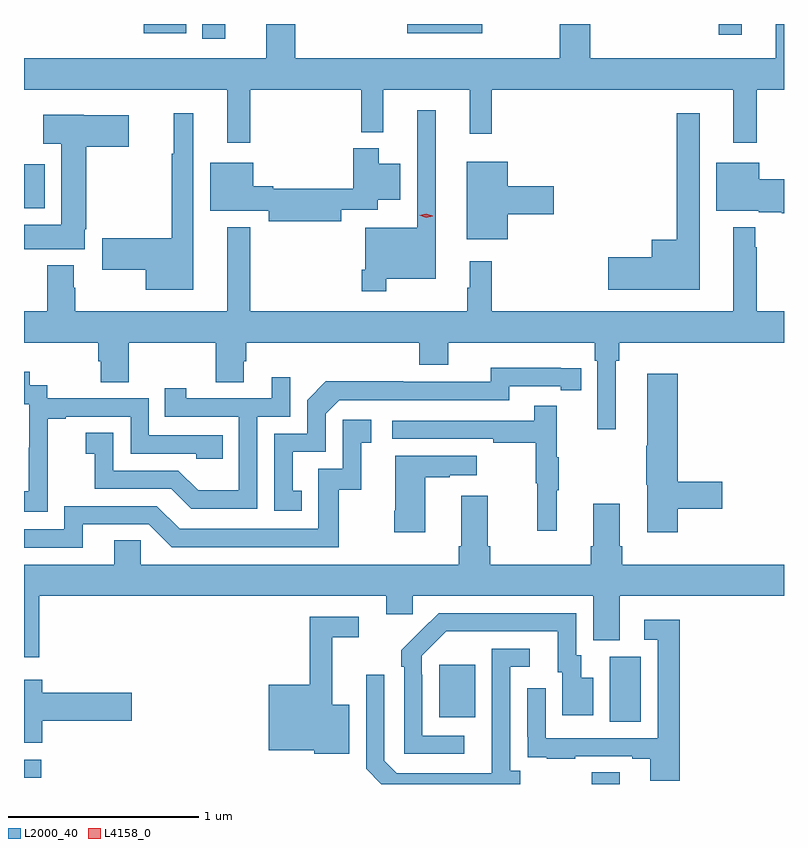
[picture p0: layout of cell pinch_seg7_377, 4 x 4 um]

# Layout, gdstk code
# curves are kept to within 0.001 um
import gdstk
lib = gdstk.Library(unit=1e-6, precision=1e-09)
def R(c, l, rs):  # rectangles x0, y0, x1, y1
    for r in rs: c.add(gdstk.rectangle(r[:2], r[2:], *l))
def P(c, l, *ps):  # polygons
    for p in ps: c.add(gdstk.Polygon(p, *l))
L2000_40 = (2000, 40)
L4158_0 = (4158, 0)

pinch_seg7_377 = lib.new_cell('pinch_seg7_377')
R(pinch_seg7_377, L2000_40, [(487.39,1020.937,487.537,1020.998), (484.401,1020.969,484.492,1021.065), (487.484,1021.264,487.648,1021.608), (486.587,1021.289,486.775,1021.564), (484.401,1023.968,484.51,1024.198), (485.339,1024.86,485.461,1024.937), (488.058,1024.881,488.179,1024.937), (485.03,1024.889,485.254,1024.937), (486.417,1024.889,486.814,1024.937)])
P(pinch_seg7_377, L2000_40, [(485.593,1024.592),(486.175,1024.592),(486.175,1024.367),(486.293,1024.367),(486.293,1024.592),(486.746,1024.592),(486.746,1024.359),(486.863,1024.359),(486.863,1024.592),(488.135,1024.592),(488.135,1024.311),(488.257,1024.311),(488.257,1024.592),(488.401,1024.592),(488.401,1024.937),(488.357,1024.937),(488.357,1024.756),(487.382,1024.756),(487.382,1024.937),(487.222,1024.937),(487.222,1024.756),(485.828,1024.756),(485.828,1024.937),(485.675,1024.937),(485.675,1024.756),(484.401,1024.756),(484.401,1024.592),(485.471,1024.592),(485.471,1024.311),(485.593,1024.311)],
  [(486.307,1023.596),(486.568,1023.596),(486.568,1024.483),(486.471,1024.483),(486.471,1023.865),(486.198,1023.865),(486.198,1023.643),(486.178,1023.643),(486.178,1023.531),(486.307,1023.531)],
  [(487.957,1024.468),(487.836,1024.468),(487.836,1023.802),(487.706,1023.802),(487.706,1023.71),(487.476,1023.71),(487.476,1023.539),(487.957,1023.539)],
  [(485.293,1024.468),(485.189,1024.468),(485.189,1024.255),(485.179,1024.255),(485.179,1023.81),(484.812,1023.81),(484.812,1023.644),(485.042,1023.644),(485.042,1023.539),(485.293,1023.539)],
  [(484.72,1023.856),(484.728,1023.856),(484.728,1024.291),(484.951,1024.291),(484.951,1024.456),(484.716,1024.456),(484.716,1024.459),(484.503,1024.459),(484.503,1024.307),(484.598,1024.307),(484.598,1023.88),(484.401,1023.88),(484.401,1023.752),(484.72,1023.752)],
  [(486.07,1023.96),(486.262,1023.96),(486.262,1024.013),(486.382,1024.013),(486.382,1024.201),(486.268,1024.201),(486.268,1024.282),(486.134,1024.282),(486.134,1024.07),(485.714,1024.07),(485.714,1024.082),(485.608,1024.082),(485.608,1024.207),(485.381,1024.207),(485.381,1023.953),(485.69,1023.953),(485.69,1023.898),(486.07,1023.898)],
  [(486.946,1023.935),(487.189,1023.935),(487.189,1024.082),(486.946,1024.082),(486.946,1024.213),(486.731,1024.213),(486.731,1023.803),(486.946,1023.803)],
  [(488.401,1024.119),(488.272,1024.119),(488.272,1024.207),(488.045,1024.207),(488.045,1023.953),(488.268,1023.953),(488.268,1023.947),(488.39,1023.947),(488.39,1023.941),(488.401,1023.941)],
  [(487.516,1023.164),(487.535,1023.164),(487.535,1023.26),(488.401,1023.26),(488.401,1023.424),(488.257,1023.424),(488.257,1023.761),(488.249,1023.761),(488.249,1023.868),(488.135,1023.868),(488.135,1023.424),(486.863,1023.424),(486.863,1023.688),(486.746,1023.688),(486.746,1023.548),(486.735,1023.548),(486.735,1023.424),(485.593,1023.424),(485.593,1023.868),(485.471,1023.868),(485.471,1023.424),(484.671,1023.424),(484.671,1023.548),(484.663,1023.548),(484.663,1023.667),(484.523,1023.667),(484.523,1023.424),(484.401,1023.424),(484.401,1023.26),(484.793,1023.26),(484.793,1023.162),(484.805,1023.162),(484.805,1023.052),(484.953,1023.052),(484.953,1023.26),(485.41,1023.26),(485.41,1023.052),(485.557,1023.052),(485.557,1023.162),(485.57,1023.162),(485.57,1023.26),(486.482,1023.26),(486.482,1023.143),(486.634,1023.143),(486.634,1023.26),(487.406,1023.26),(487.406,1023.164),(487.419,1023.164),(487.419,1022.805),(487.516,1022.805)],
  [(485.864,1022.481),(485.815,1022.481),(485.815,1022.685),(485.988,1022.685),(485.988,1022.886),(486.06,1022.958),(486.954,1022.958),(486.954,1023.03),(487.226,1023.03),(487.226,1023.01),(487.334,1023.01),(487.334,1023.126),(486.858,1023.127),(486.858,1023.054),(486.398,1023.054),(486.398,1023.056),(485.99,1023.056),(485.892,1022.958),(485.892,1022.781),(485.718,1022.781),(485.718,1022.376),(485.864,1022.376)],
  [(484.527,1022.575),(484.526,1022.575),(484.526,1022.859),(484.621,1022.859),(484.621,1022.871),(484.962,1022.871),(484.962,1022.676),(485.307,1022.676),(485.307,1022.649),(485.447,1022.649),(485.447,1022.772),(485.058,1022.772),(485.058,1022.967),(484.524,1022.967),(484.524,1023.036),(484.432,1023.036),(484.432,1023.106),(484.401,1023.106),(484.401,1022.937),(484.428,1022.937),(484.428,1022.708),(484.427,1022.708),(484.427,1022.479),(484.401,1022.479),(484.401,1022.369),(484.527,1022.369)],
  [(487.841,1022.386),(488.077,1022.386),(488.077,1022.528),(487.841,1022.528),(487.841,1023.097),(487.682,1023.097),(487.682,1022.717),(487.675,1022.717),(487.675,1022.511),(487.682,1022.511),(487.682,1022.262),(487.841,1022.262)],
  [(485.628,1022.871),(485.802,1022.871),(485.802,1023.079),(485.705,1023.079),(485.705,1022.967),(485.254,1022.967),(485.254,1023.019),(485.143,1023.019),(485.143,1022.871),(485.532,1022.871),(485.532,1022.482),(485.318,1022.482),(485.214,1022.586),(484.872,1022.586),(484.872,1022.785),(484.725,1022.785),(484.725,1022.675),(484.774,1022.675),(484.774,1022.49),(485.177,1022.49),(485.282,1022.385),(485.628,1022.385)],
  [(487.205,1022.483),(487.216,1022.483),(487.216,1022.657),(487.205,1022.657),(487.205,1022.929),(487.087,1022.929),(487.087,1022.85),(486.339,1022.85),(486.339,1022.754),(486.871,1022.754),(486.871,1022.734),(487.095,1022.734),(487.095,1022.52),(487.102,1022.52),(487.102,1022.271),(487.205,1022.271)],
  [(484.711,1022.304),(485.058,1022.304),(485.178,1022.184),(486.058,1022.184),(486.058,1022.487),(486.176,1022.487),(486.176,1022.733),(486.229,1022.733),(486.229,1022.854),(486.078,1022.854),(486.078,1022.595),(485.949,1022.595),(485.949,1022.28),(485.22,1022.28),(485.1,1022.4),(484.614,1022.4),(484.614,1022.277),(484.401,1022.277),(484.401,1022.181),(484.711,1022.181)],
  [(486.514,1022.551),(486.641,1022.551),(486.641,1022.561),(486.784,1022.561),(486.784,1022.665),(486.356,1022.665),(486.356,1022.374),(486.349,1022.374),(486.349,1022.262),(486.514,1022.262)],
  [(484.481,1021.928),(486.308,1021.928),(486.308,1021.83),(486.447,1021.83),(486.447,1021.928),(487.397,1021.928),(487.397,1021.693),(487.537,1021.693),(487.537,1021.928),(488.401,1021.928),(488.401,1022.092),(487.55,1022.092),(487.55,1022.188),(487.537,1022.188),(487.537,1022.413),(487.397,1022.413),(487.397,1022.188),(487.385,1022.188),(487.385,1022.092),(486.854,1022.092),(486.854,1022.188),(486.841,1022.188),(486.841,1022.455),(486.701,1022.455),(486.701,1022.188),(486.689,1022.188),(486.689,1022.092),(485.016,1022.092),(485.016,1022.219),(484.877,1022.219),(484.877,1022.092),(484.401,1022.092),(484.401,1021.605),(484.481,1021.605)],
  [(486.718,1021.191),(486.498,1021.191),(486.498,1021.511),(486.495,1021.511),(486.495,1021.611),(486.624,1021.74),(487.211,1021.74),(487.211,1021.524),(487.235,1021.524),(487.235,1021.299),(487.396,1021.299),(487.396,1021.495),(487.333,1021.495),(487.333,1021.614),(487.308,1021.614),(487.308,1021.836),(486.584,1021.836),(486.387,1021.641),(486.387,1021.553),(486.402,1021.553),(486.402,1021.095),(486.718,1021.095)],
  [(486.112,1021.354),(486.023,1021.354),(486.023,1021.71),(486.163,1021.71),(486.163,1021.818),(485.905,1021.818),(485.905,1021.459),(485.69,1021.459),(485.69,1021.115),(485.928,1021.115),(485.928,1021.097),(486.112,1021.097)],
  [(487.853,1021.801),(487.665,1021.801),(487.665,1021.695),(487.737,1021.695),(487.737,1021.179),(487.146,1021.179),(487.146,1021.441),(487.05,1021.441),(487.05,1021.186),(487.051,1021.186),(487.051,1021.077),(487.153,1021.077),(487.153,1021.071),(487.301,1021.071),(487.301,1021.083),(487.601,1021.083),(487.601,1021.071),(487.697,1021.071),(487.697,1020.954),(487.853,1020.954)],
  [(487.012,1021.006),(486.96,1021.006),(486.96,1021.554),(487.063,1021.554),(487.063,1021.65),(486.864,1021.65),(486.863,1020.993),(486.363,1020.993),(486.297,1021.059),(486.297,1021.513),(486.201,1021.513),(486.201,1021.017),(486.281,1020.937),(487.012,1020.937)],
  [(484.498,1021.271),(484.969,1021.271),(484.969,1021.418),(484.498,1021.418),(484.498,1021.486),(484.401,1021.486),(484.401,1021.154),(484.498,1021.154)])
P(pinch_seg7_377, L4158_0, [(486.517,1023.918),(486.482,1023.93),(486.481,1023.93),(486.482,1023.93),(486.518,1023.938),(486.553,1023.927),(486.553,1023.927),(486.553,1023.926)])

lib.write_gds('pinch_seg7_377.gds')
